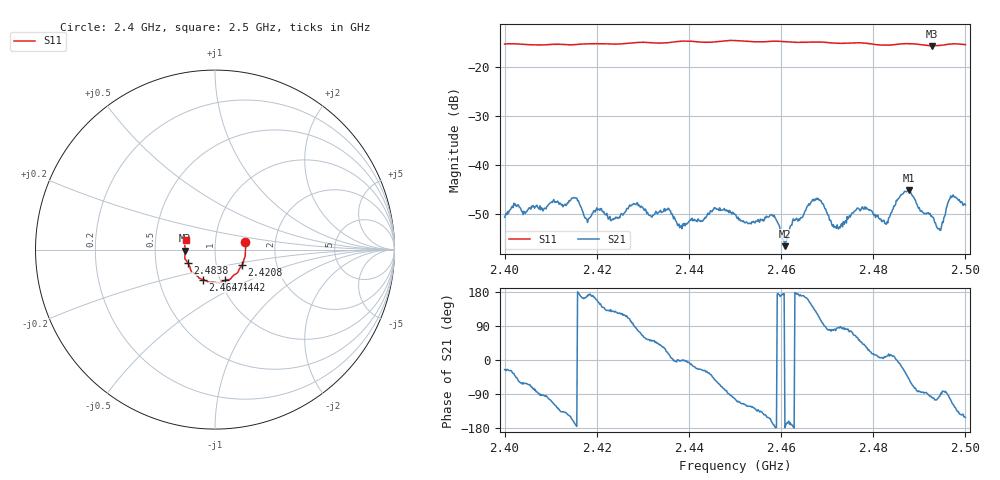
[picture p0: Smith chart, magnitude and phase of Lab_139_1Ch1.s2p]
# Hz S RI R 50
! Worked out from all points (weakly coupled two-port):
!   601 points, 2.4 GHz to 2.5 GHz, reference 50 ohm
!   highest |S21| = -45.20 dB at 2.4877 GHz (marker M1); lowest = -56.7 dB at 2.4608 GHz (marker M2)
!   lowest |S11| = -15.6 dB at 2.4928 GHz (marker M3), VSWR 1.40, Z = 35.8 - j0.375 ohm
!   |S11| at or under -10 dB: start of sweep to end of sweep
!   S12 and S22 are empty: the file has one direction only
!   S11 on the Smith chart (normalised r, x): 2.4 GHz: 1.40, +0.12; 2.4208 GHz: 1.33, -0.24; 2.4442 GHz: 1.05, -0.37; 2.4647 GHz: 0.83, -0.29; 2.4838 GHz: 0.73, -0.11; 2.5 GHz: 0.72, +0.08
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2.4e9  0.168 0.041  0.00261 -0.00124  0 0  0 0
2.415e9  0.1608 -0.0563  -0.00441 -0.00138  0 0  0 0
2.416667e9  0.1589 -0.0681  -0.00353 0.000844  0 0  0 0
2.418e9  0.1563 -0.0763  -0.00251 0.000515  0 0  0 0
2.420833e9  0.1508 -0.0873  -0.003 0.00188  0 0  0 0
2.433333e9  0.108 -0.1401  0.00239 0.00221  0 0  0 0
2.438e9  0.0879 -0.1624  0.00226 -0.000131  0 0  0 0
2.444167e9  0.0567 -0.1711  0.00265 -0.0018  0 0  0 0
2.45e9  0.0247 -0.1865  -0.000694 -0.00304  0 0  0 0
2.458167e9  -0.0267 -0.1828  -0.00299 -0.000671  0 0  0 0
2.460833e9  -0.0397 -0.1786  -0.00147 -2.39e-05  0 0  0 0
2.464667e9  -0.0672 -0.167  -0.00287 0.000506  0 0  0 0
2.466667e9  -0.0802 -0.1627  -0.00337 0.00251  0 0  0 0
2.472e9  -0.1016 -0.1439  0.000253 0.00222  0 0  0 0
2.478e9  -0.1349 -0.1153  0.00263 0.00233  0 0  0 0
2.483333e9  -0.1505 -0.0761  0.00274 0.000772  0 0  0 0
2.483833e9  -0.1531 -0.0719  0.00313 0.000728  0 0  0 0
2.487667e9  -0.1675 -0.0493  0.00364 -0.00412  0 0  0 0
2.492833e9  -0.1657 -0.0051  -0.000516 -0.00286  0 0  0 0
2.494333e9  -0.1666 0.0115  -0.000224 -0.00222  0 0  0 0
2.497e9  -0.1706 0.0326  -0.00164 -0.00431  0 0  0 0
2.5e9  -0.1625 0.0529  -0.00342 -0.00185  0 0  0 0
